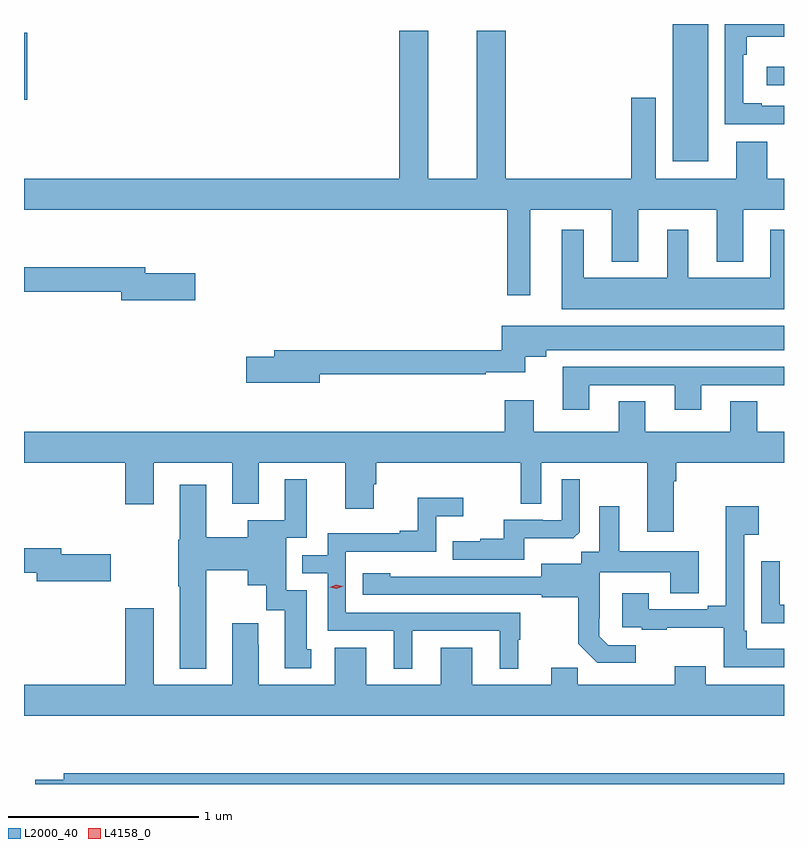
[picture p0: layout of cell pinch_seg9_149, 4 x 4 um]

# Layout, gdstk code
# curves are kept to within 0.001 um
import gdstk
lib = gdstk.Library(unit=1e-6, precision=1e-09)
def R(c, l, rs):  # rectangles x0, y0, x1, y1
    for r in rs: c.add(gdstk.rectangle(r[:2], r[2:], *l))
def P(c, l, *ps):  # polygons
    for p in ps: c.add(gdstk.Polygon(p, *l))
L2000_40 = (2000, 40)
L4158_0 = (4158, 0)

pinch_seg9_149 = lib.new_cell('pinch_seg9_149')
R(pinch_seg9_149, L2000_40, [(722.582,1241.963,722.767,1242.686), (719.167,1242.287,719.183,1242.64), (723.075,1242.363,723.167,1242.46)])
P(pinch_seg9_149, L2000_40, [(723.167,1242.255),(723.049,1242.255),(723.049,1242.268),(722.952,1242.268),(722.952,1242.524),(722.972,1242.524),(722.972,1242.62),(723.167,1242.62),(723.167,1242.686),(722.856,1242.686),(722.856,1242.159),(723.167,1242.159)],
  [(721.703,1242.651),(721.55,1242.651),(721.55,1241.872),(721.294,1241.872),(721.294,1242.651),(721.142,1242.651),(721.142,1241.872),(719.167,1241.872),(719.167,1241.708),(721.71,1241.708),(721.71,1241.259),(721.831,1241.259),(721.831,1241.708),(722.261,1241.708),(722.261,1241.435),(722.401,1241.435),(722.401,1241.708),(722.813,1241.708),(722.813,1241.435),(722.953,1241.435),(722.953,1241.708),(723.167,1241.708),(723.167,1241.872),(723.079,1241.872),(723.079,1242.067),(722.915,1242.067),(722.915,1241.872),(722.491,1241.872),(722.491,1242.298),(722.363,1242.298),(722.363,1241.872),(721.703,1241.872)],
  [(723.167,1241.602),(723.095,1241.602),(723.095,1241.35),(722.662,1241.35),(722.662,1241.602),(722.552,1241.602),(722.552,1241.35),(722.113,1241.35),(722.113,1241.602),(721.997,1241.602),(721.997,1241.186),(723.167,1241.186)],
  [(720.067,1241.373),(719.806,1241.373),(719.806,1241.407),(719.167,1241.407),(719.167,1241.278),(719.678,1241.278),(719.678,1241.231),(720.067,1241.231)],
  [(720.724,1240.842),(721.598,1240.842),(721.598,1240.853),(721.804,1240.853),(721.804,1240.934),(721.915,1240.934),(721.915,1240.97),(723.167,1240.97),(723.167,1241.098),(721.682,1241.098),(721.682,1240.97),(720.485,1240.97),(720.485,1240.934),(720.336,1240.934),(720.336,1240.799),(720.724,1240.799)],
  [(722.143,1240.785),(722.591,1240.785),(722.591,1240.656),(722.731,1240.656),(722.731,1240.785),(723.167,1240.785),(723.167,1240.881),(722.003,1240.881),(722.003,1240.656),(722.143,1240.656)],
  [(722.587,1240.28),(722.6,1240.28),(722.6,1240.376),(723.167,1240.376),(723.167,1240.54),(723.025,1240.54),(723.025,1240.7),(722.885,1240.7),(722.885,1240.54),(722.437,1240.54),(722.437,1240.7),(722.297,1240.7),(722.297,1240.54),(721.849,1240.54),(721.849,1240.705),(721.697,1240.705),(721.697,1240.54),(719.167,1240.54),(719.167,1240.376),(719.699,1240.376),(719.699,1240.158),(719.851,1240.158),(719.851,1240.376),(720.263,1240.376),(720.263,1240.16),(720.403,1240.16),(720.403,1240.376),(720.857,1240.376),(720.857,1240.134),(721.009,1240.134),(721.009,1240.263),(721.022,1240.263),(721.022,1240.376),(721.782,1240.376),(721.782,1240.162),(721.89,1240.162),(721.89,1240.376),(722.447,1240.376),(722.447,1240.014),(722.587,1240.014)],
  [(720.127,1239.812),(720.344,1239.812),(720.344,1239.731),(720.443,1239.731),(720.443,1239.6),(720.539,1239.6),(720.539,1239.294),(720.679,1239.294),(720.679,1239.396),(720.655,1239.396),(720.655,1239.705),(720.546,1239.705),(720.546,1239.981),(720.655,1239.981),(720.655,1240.291),(720.539,1240.291),(720.539,1240.075),(720.344,1240.075),(720.344,1239.984),(720.127,1239.984),(720.127,1240.261),(719.987,1240.261),(719.987,1239.972),(719.98,1239.972),(719.98,1239.728),(719.987,1239.728),(719.987,1239.293),(720.127,1239.293)],
  [(721.801,1239.98),(722.059,1239.98),(722.091,1240.011),(722.091,1240.291),(721.998,1240.291),(721.998,1240.074),(721.898,1240.074),(721.898,1240.077),(721.691,1240.077),(721.691,1239.976),(721.567,1239.976),(721.567,1239.964),(721.423,1239.964),(721.423,1239.867),(721.801,1239.867)],
  [(721.21,1239.492),(721.67,1239.492),(721.67,1239.293),(721.768,1239.293),(721.768,1239.444),(721.78,1239.444),(721.78,1239.588),(720.861,1239.588),(720.861,1239.909),(721.338,1239.909),(721.338,1240.094),(721.48,1240.094),(721.48,1240.193),(721.24,1240.193),(721.24,1240.018),(721.145,1240.018),(721.145,1240.005),(720.765,1240.005),(720.765,1239.891),(720.632,1239.891),(720.632,1239.795),(720.765,1239.795),(720.765,1239.492),(721.112,1239.492),(721.112,1239.293),(721.21,1239.293)],
  [(722.386,1239.417),(722.241,1239.417),(722.194,1239.464),(722.194,1239.559),(722.196,1239.559),(722.196,1239.8),(722.567,1239.8),(722.567,1239.691),(722.719,1239.691),(722.719,1239.91),(722.299,1239.91),(722.299,1240.147),(722.195,1240.147),(722.195,1239.908),(722.1,1239.908),(722.1,1239.844),(721.889,1239.844),(721.889,1239.777),(721.095,1239.778),(721.095,1239.796),(720.951,1239.796),(720.951,1239.681),(721.893,1239.681),(721.893,1239.669),(722.085,1239.669),(722.085,1239.423),(722.185,1239.323),(722.386,1239.323)],
  [(723.167,1239.397),(722.971,1239.397),(722.971,1239.493),(722.958,1239.493),(722.958,1239.998),(723.034,1239.998),(723.034,1240.147),(722.861,1240.147),(722.861,1239.625),(722.765,1239.625),(722.765,1239.606),(722.455,1239.606),(722.455,1239.691),(722.315,1239.691),(722.315,1239.51),(722.419,1239.51),(722.419,1239.498),(722.551,1239.498),(722.551,1239.509),(722.85,1239.509),(722.85,1239.3),(723.167,1239.3)],
  [(719.623,1239.894),(719.362,1239.894),(719.362,1239.928),(719.167,1239.928),(719.167,1239.799),(719.234,1239.799),(719.234,1239.752),(719.623,1239.752)],
  [(723.167,1239.63),(723.144,1239.63),(723.144,1239.859),(723.048,1239.859),(723.048,1239.533),(723.167,1239.533)],
  [(723.167,1239.208),(722.755,1239.208),(722.755,1239.307),(722.591,1239.307),(722.591,1239.208),(722.081,1239.208),(722.081,1239.299),(721.943,1239.299),(721.943,1239.208),(721.525,1239.208),(721.525,1239.403),(721.361,1239.403),(721.361,1239.208),(720.967,1239.208),(720.967,1239.403),(720.803,1239.403),(720.803,1239.208),(720.403,1239.208),(720.403,1239.419),(720.4,1239.419),(720.4,1239.532),(720.263,1239.532),(720.263,1239.208),(719.851,1239.208),(719.851,1239.61),(719.699,1239.61),(719.699,1239.208),(719.167,1239.208),(719.167,1239.044),(723.167,1239.044)],
  [(723.167,1238.743),(719.375,1238.743),(719.375,1238.709),(719.226,1238.709),(719.226,1238.686),(723.167,1238.686)])
P(pinch_seg9_149, L4158_0, [(720.812,1239.714),(720.777,1239.722),(720.776,1239.722),(720.777,1239.722),(720.81,1239.734),(720.845,1239.727),(720.846,1239.727),(720.845,1239.727)])

lib.write_gds('pinch_seg9_149.gds')
